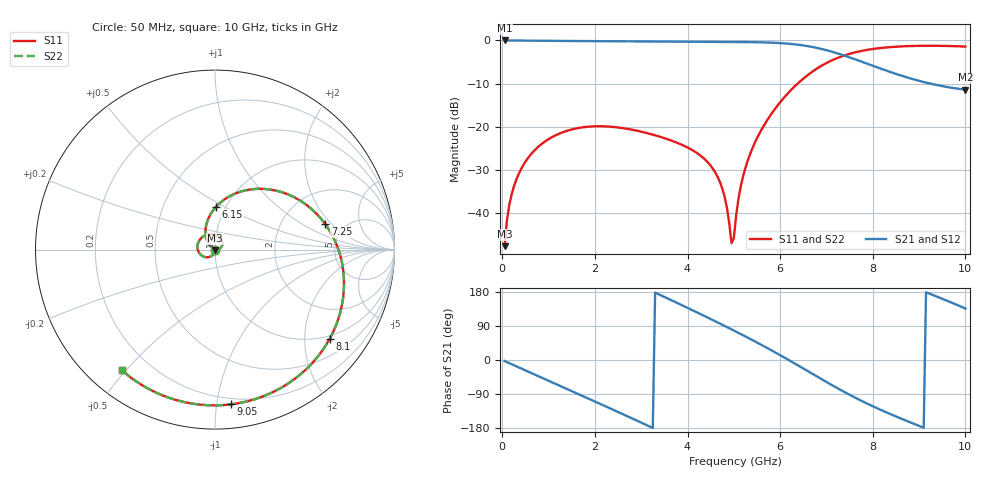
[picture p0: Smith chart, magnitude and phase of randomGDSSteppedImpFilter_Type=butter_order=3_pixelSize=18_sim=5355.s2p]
! freq	dB(S11)	phase(S11)	dB(S12)	phase(S12)
!  dB(S21)	phase(S21)	dB(S22)	phase(S22)
!S-par simulation data
#  GHz  S  DB  R 50
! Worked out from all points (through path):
!   200 points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, 50 MHz to 10 GHz, reference 50 ohm
!   highest |S21| = 0.00 dB at 50 MHz (marker M1); lowest = -11.4 dB at 10 GHz (marker M2)
!   group delay of S21, straight-line fit = 168 ps
!   lowest |S11| = -47.7 dB at 50 MHz (marker M3), VSWR 1.01, Z = 50 - j0.412 ohm
!   |S11| at or under -10 dB: start of sweep to 6.378 GHz
!   |S22| runs from -47.7 to -1.2 dB; largest |S21 - S12| = 0
!   S11 on the Smith chart (normalised r, x): 50 MHz: 1.00, -0.01; 6.15 GHz: 0.90, +0.46; 7.25 GHz: 3.56, +1.68; 8.1 GHz: 0.92, -2.64; 9.05 GHz: 0.16, -1.10; 10 GHz: 0.10, -0.49
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0.05  -47.69 -91.5  -0.00 -2.8  -0.00 -2.8  -47.69 -91.5
0.2  -35.77 -100.4  -0.02 -11.0  -0.02 -11.0  -35.77 -100.4
0.5  -28.11 -117.8  -0.04 -27.4  -0.04 -27.4  -28.11 -117.9
1.15  -21.99 -154.1  -0.10 -63.0  -0.10 -63.0  -21.99 -154.2
1.75  -20.12 172.7  -0.15 -95.8  -0.15 -95.8  -20.12 172.6
2.65  -20.40 122.7  -0.21 -145.6  -0.21 -145.6  -20.40 122.5
3.4  -22.31 80.5  -0.25 172.2  -0.25 172.2  -22.31 80.2
3.95  -24.55 49.4  -0.29 140.5  -0.29 140.5  -24.55 49.0
4.55  -29.78 17.4  -0.32 105.1  -0.32 105.1  -29.78 16.9
4.8  -36.20 10.6  -0.33 90.0  -0.33 90.0  -36.21 9.8
4.95  -46.98 52.8  -0.34 80.9  -0.34 80.9  -47.29 51.3
5  -45.79 111.4  -0.35 77.8  -0.35 77.8  -46.07 112.3
5.05  -40.56 134.6  -0.35 74.7  -0.35 74.7  -40.66 135.4
5.2  -31.47 142.5  -0.37 65.3  -0.37 65.3  -31.49 142.7
5.4  -25.03 134.6  -0.39 52.6  -0.39 52.6  -25.03 134.7
6.15  -12.46 88.7  -0.73 2.4  -0.73 2.4  -12.46 88.7
6.7  -7.20 50.7  -1.52 -36.7  -1.52 -36.7  -7.20 50.8
7.25  -4.01 13.1  -3.03 -75.4  -3.03 -75.4  -4.01 13.1
8.1  -1.84 -37.8  -6.25 -127.7  -6.25 -127.7  -1.84 -37.7
8.35  -1.57 -50.8  -7.20 -141.2  -7.20 -141.2  -1.57 -50.7
9.05  -1.24 -84.1  -9.50 -176.4  -9.50 -176.4  -1.24 -84.0
10  -1.42 -127.8  -11.40 135.9  -11.40 135.9  -1.42 -127.7
